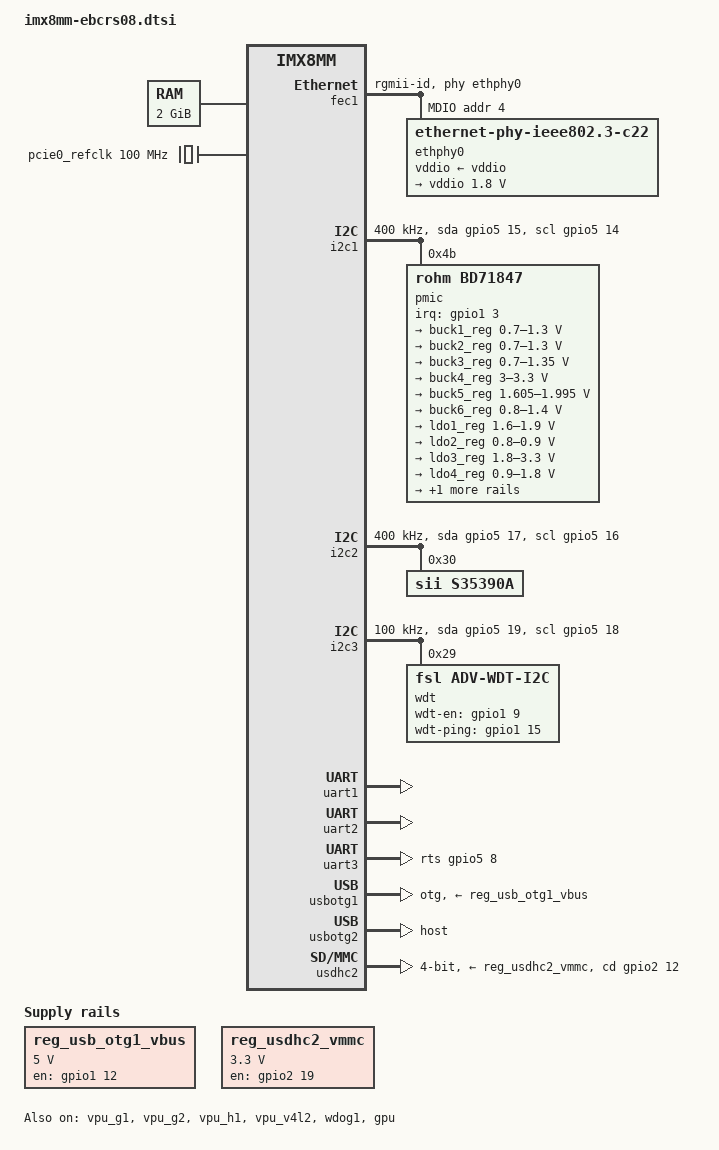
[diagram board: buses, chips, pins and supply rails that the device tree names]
// SPDX-License-Identifier: (GPL-2.0+ OR MIT)
/*
 * Copyright 2020 NXP
 */

/dts-v1/;

#include <dt-bindings/usb/pd.h>
#include "imx8mm.dtsi"

/ {
	chosen {
		stdout-path = &uart2;
	};

	memory@40000000 {
		device_type = "memory";
		reg = <0x0 0x40000000 0 0x80000000>;
	};

	pcie0_refclk: pcie0-refclk {
		compatible = "fixed-clock";
		#clock-cells = <0>;
		clock-frequency = <100000000>;
	};

	reg_usb_otg1_vbus: regulator-vbus {
		compatible = "regulator-fixed";
		regulator-name = "usb_otg1_vbus";
		regulator-min-microvolt = <5000000>;
		regulator-max-microvolt = <5000000>;
		gpio = <&gpio1 12 GPIO_ACTIVE_HIGH>;
		enable-active-high;
	};

	reg_usdhc2_vmmc: regulator-usdhc2 {
		compatible = "regulator-fixed";
		pinctrl-names = "default";
		pinctrl-0 = <&pinctrl_reg_usdhc2_vmmc>;
		regulator-name = "VSD_3V3";
		regulator-min-microvolt = <3300000>;
		regulator-max-microvolt = <3300000>;
		gpio = <&gpio2 19 GPIO_ACTIVE_HIGH>;
		off-on-delay-us = <20000>;
		enable-active-high;
	};
};

&A53_0 {
	cpu-supply = <&buck2_reg>;
};

&A53_1 {
	cpu-supply = <&buck2_reg>;
};

&A53_2 {
	cpu-supply = <&buck2_reg>;
};

&A53_3 {
	cpu-supply = <&buck2_reg>;
};

&csi1_bridge {
	fsl,mipi-mode;
	status = "disabled";
};

&ecspi2 {
        cs-gpios = <&gpio5 13 0>, <&gpio3 21 0>;
        pinctrl-names = "default";
        pinctrl-0 = <&pinctrl_ecspi2>;
        status = "disabled";
};

&ecspi3 {
        cs-gpios = <&gpio5 25 0>, <&gpio3 22 0>;
        pinctrl-names = "default";
        pinctrl-0 = <&pinctrl_ecspi3>;
        status = "disabled";
};

&fec1 {
	pinctrl-names = "default";
	pinctrl-0 = <&pinctrl_fec1>;
	phy-mode = "rgmii-id";
	phy-handle = <&ethphy0>;
	fsl,magic-packet;
	status = "okay";

	mdio {
		#address-cells = <1>;
		#size-cells = <0>;

		ethphy0: ethernet-phy@0 {
			compatible = "ethernet-phy-ieee802.3-c22";
			reg = <4>;
			qca,disable-smarteee;
			vddio-supply = <&vddio>;

			vddio: vddio-regulator {
				regulator-min-microvolt = <1800000>;
				regulator-max-microvolt = <1800000>;
			};
		};
	};
};

&i2c1 {
	clock-frequency = <400000>;
	pinctrl-names = "default";
	pinctrl-0 = <&pinctrl_i2c1>;
	pinctrl-1 = <&pinctrl_i2c1_gpio>;
	scl-gpios = <&gpio5 14 GPIO_ACTIVE_HIGH>;
	sda-gpios = <&gpio5 15 GPIO_ACTIVE_HIGH>;
	status = "okay";

	pmic@4b {
		compatible = "rohm,bd71847";
		reg = <0x4b>;
		pinctrl-0 = <&pinctrl_pmic>;
		interrupt-parent = <&gpio1>;
		interrupts = <3 GPIO_ACTIVE_LOW>;
		rohm,reset-snvs-powered;

		regulators {
			buck1_reg: BUCK1 {
				regulator-name = "BUCK1";
				regulator-min-microvolt = <700000>;
				regulator-max-microvolt = <1300000>;
				regulator-boot-on;
				regulator-always-on;
				regulator-ramp-delay = <1250>;
			};

			buck2_reg: BUCK2 {
				regulator-name = "BUCK2";
				regulator-min-microvolt = <700000>;
				regulator-max-microvolt = <1300000>;
				regulator-boot-on;
				regulator-always-on;
				regulator-ramp-delay = <1250>;
				rohm,dvs-run-voltage = <1000000>;
				rohm,dvs-idle-voltage = <900000>;
			};

			buck3_reg: BUCK3 {
				// BUCK5 in datasheet
				regulator-name = "BUCK3";
				regulator-min-microvolt = <700000>;
				regulator-max-microvolt = <1350000>;
				regulator-boot-on;
				regulator-always-on;
			};

			buck4_reg: BUCK4 {
				// BUCK6 in datasheet
				regulator-name = "BUCK4";
				regulator-min-microvolt = <3000000>;
				regulator-max-microvolt = <3300000>;
				regulator-boot-on;
				regulator-always-on;
			};

			buck5_reg: BUCK5 {
				// BUCK7 in datasheet
				regulator-name = "BUCK5";
				regulator-min-microvolt = <1605000>;
				regulator-max-microvolt = <1995000>;
				regulator-boot-on;
				regulator-always-on;
			};

			buck6_reg: BUCK6 {
				// BUCK8 in datasheet
				regulator-name = "BUCK6";
				regulator-min-microvolt = <800000>;
				regulator-max-microvolt = <1400000>;
				regulator-boot-on;
				regulator-always-on;
			};

			ldo1_reg: LDO1 {
				regulator-name = "LDO1";
				regulator-min-microvolt = <1600000>;
				regulator-max-microvolt = <1900000>;
				regulator-boot-on;
				regulator-always-on;
			};

			ldo2_reg: LDO2 {
				regulator-name = "LDO2";
				regulator-min-microvolt = <800000>;
				regulator-max-microvolt = <900000>;
				regulator-boot-on;
				regulator-always-on;
			};

			ldo3_reg: LDO3 {
				regulator-name = "LDO3";
				regulator-min-microvolt = <1800000>;
				regulator-max-microvolt = <3300000>;
				regulator-boot-on;
				regulator-always-on;
			};

			ldo4_reg: LDO4 {
				regulator-name = "LDO4";
				regulator-min-microvolt = <900000>;
				regulator-max-microvolt = <1800000>;
				regulator-boot-on;
				regulator-always-on;
			};

			ldo6_reg: LDO6 {
				regulator-name = "LDO6";
				regulator-min-microvolt = <900000>;
				regulator-max-microvolt = <1800000>;
				regulator-boot-on;
				regulator-always-on;
			};
		};
	};
};

&i2c2 {
	clock-frequency = <400000>;
	pinctrl-names = "default", "gpio";
	pinctrl-0 = <&pinctrl_i2c2>;
	pinctrl-1 = <&pinctrl_i2c2_gpio>;
	scl-gpios = <&gpio5 16 GPIO_ACTIVE_HIGH>;
	sda-gpios = <&gpio5 17 GPIO_ACTIVE_HIGH>;
	status = "okay";

	s35390a: s35390a@30 {
		 compatible = "sii,s35390a";
		 reg = <0x30>;
		status = "okay";
	};

};

&i2c3 {
	clock-frequency = <100000>;
	pinctrl-names = "default", "gpio";
	pinctrl-0 = <&pinctrl_i2c3>;
	pinctrl-1 = <&pinctrl_i2c3_gpio>;
	scl-gpios = <&gpio5 18 GPIO_ACTIVE_HIGH>;
	sda-gpios = <&gpio5 19 GPIO_ACTIVE_HIGH>;
	status = "okay";

	wdt@29 {
		compatible = "fsl,adv-wdt-i2c";
		pinctrl-names = "default";
		pinctrl-0 = <&pinctrl_wdt_en_1 &pinctrl_wdt_ping_1>;
		status = "okay";
		wdt-en = <&gpio1 9 0>;
		wdt-ping = <&gpio1 15 0>;
		reg = <0x29>;
	};
};

&lcdif {
       status = "disabled";
};

&mipi_csi_1 {
	#address-cells = <1>;
	#size-cells = <0>;
	status = "disabled";
};

&mipi_dsi {
       status = "disabled";

};

&pcie0{
	pinctrl-names = "default";
	pinctrl-0 = <&pinctrl_pcie0>;
	disable-gpio = <&gpio3 19 GPIO_ACTIVE_LOW>;
	reset-gpio = <&gpio1 13 GPIO_ACTIVE_LOW>;
	clocks = <&clk IMX8MM_CLK_PCIE1_ROOT>,
		 <&clk IMX8MM_CLK_PCIE1_AUX>,
		 <&clk IMX8MM_CLK_PCIE1_PHY>,
		 <&pcie0_refclk>;
	clock-names = "pcie", "pcie_aux", "pcie_phy", "pcie_bus";
	assigned-clocks = <&clk IMX8MM_CLK_PCIE1_AUX>,
			  <&clk IMX8MM_CLK_PCIE1_PHY>,
			  <&clk IMX8MM_CLK_PCIE1_CTRL>;
	assigned-clock-rates = <10000000>, <100000000>, <250000000>;
	assigned-clock-parents = <&clk IMX8MM_SYS_PLL2_50M>,
				 <&clk IMX8MM_SYS_PLL2_100M>,
				 <&clk IMX8MM_SYS_PLL2_250M>;
	ext_osc = <1>;
	status = "disabled";
};

&sai1 {
	pinctrl-names = "default", "dsd";
	pinctrl-0 = <&pinctrl_sai1>;
	pinctrl-1 = <&pinctrl_sai1_dsd>;
	assigned-clocks = <&clk IMX8MM_CLK_SAI1>;
	assigned-clock-parents = <&clk IMX8MM_AUDIO_PLL1_OUT>;
	assigned-clock-rates = <49152000>;
	clocks = <&clk IMX8MM_CLK_SAI1_IPG>, <&clk IMX8MM_CLK_DUMMY>,
		<&clk IMX8MM_CLK_SAI1_ROOT>, <&clk IMX8MM_CLK_DUMMY>,
		<&clk IMX8MM_CLK_DUMMY>, <&clk IMX8MM_AUDIO_PLL1_OUT>,
		<&clk IMX8MM_AUDIO_PLL2_OUT>;
	clock-names = "bus", "mclk0", "mclk1", "mclk2", "mclk3", "pll8k", "pll11k";
	fsl,sai-multi-lane;
	fsl,dataline,dsd = <0 0xff 0xff 2 0xff 0x11>;
	dmas = <&sdma2 0 25 0>, <&sdma2 1 25 0>;
	status = "disabled";
};

&sai3 {
	pinctrl-names = "default";
	pinctrl-0 = <&pinctrl_sai3>;
	assigned-clocks = <&clk IMX8MM_CLK_SAI3>;
	assigned-clock-parents = <&clk IMX8MM_AUDIO_PLL1_OUT>;
	assigned-clock-rates = <24576000>;
	status = "disabled";
};

&sai6 {
	fsl,sai-monitor-spdif;
	fsl,sai-asynchronous;
	status = "disabled";
};

&snvs_rtc {
	status = "disabled";
};

&snvs_pwrkey {
	status = "disabled";
};

&spdif1 {
	pinctrl-names = "default";
	pinctrl-0 = <&pinctrl_spdif1>;
	assigned-clocks = <&clk IMX8MM_CLK_SPDIF1>;
	assigned-clock-parents = <&clk IMX8MM_AUDIO_PLL1_OUT>;
	assigned-clock-rates = <24576000>;
	clocks = <&clk IMX8MM_CLK_AUDIO_AHB>, <&clk IMX8MM_CLK_24M>,
		<&clk IMX8MM_CLK_SPDIF1>, <&clk IMX8MM_CLK_DUMMY>,
		<&clk IMX8MM_CLK_DUMMY>, <&clk IMX8MM_CLK_DUMMY>,
		<&clk IMX8MM_CLK_AUDIO_AHB>, <&clk IMX8MM_CLK_DUMMY>,
		<&clk IMX8MM_CLK_DUMMY>, <&clk IMX8MM_CLK_DUMMY>,
		<&clk IMX8MM_AUDIO_PLL1_OUT>, <&clk IMX8MM_AUDIO_PLL2_OUT>;
	clock-names = "core", "rxtx0", "rxtx1", "rxtx2", "rxtx3",
		"rxtx4", "rxtx5", "rxtx6", "rxtx7", "spba", "pll8k", "pll11k";
	status = "disabled";
};

&uart1 { /* BT */
	pinctrl-names = "default";
	pinctrl-0 = <&pinctrl_uart1>;
	fsl,uart-has-rtscts;
	linux,rs485-enabled-at-boot-time;
	status = "okay";
};

&uart2 { /* console */
	pinctrl-names = "default";
	pinctrl-0 = <&pinctrl_uart2>;
	status = "okay";
};

&uart3 {
	pinctrl-names = "default";
	pinctrl-0 = <&pinctrl_uart3>;
	/*fsl,uart-has-rtscts;*/
	rts-gpios = <&gpio5 8 GPIO_ACTIVE_HIGH>;
	linux,rs485-enabled-at-boot-time;
	status = "okay";
};

&usbotg1 {
	pinctrl-names = "default";
	pinctrl-0 = <&pinctrl_usbotg>;
	dr_mode = "otg";
	extcon = <0>;
	vbus-supply = <&reg_usb_otg1_vbus>;
	disable-over-current;
	samsung,picophy-pre-emp-curr-control = <3>;
	samsung,picophy-dc-vol-level-adjust = <7>;
	status = "okay";
};

&usbotg2 {
	dr_mode = "host";
	// power-en-gpio = <&gpio1 0 GPIO_ACTIVE_HIGH>;
	// power-reset-gpio = <&gpio1 1 GPIO_ACTIVE_HIGH>;

	status = "okay";
};

&usdhc2 {
	assigned-clocks = <&clk IMX8MM_CLK_USDHC2>;
	assigned-clock-rates = <200000000>;
	pinctrl-names = "default", "state_100mhz", "state_200mhz";
	pinctrl-0 = <&pinctrl_usdhc2>, <&pinctrl_usdhc2_gpio>;
	pinctrl-1 = <&pinctrl_usdhc2_100mhz>, <&pinctrl_usdhc2_gpio>;
	pinctrl-2 = <&pinctrl_usdhc2_200mhz>, <&pinctrl_usdhc2_gpio>;
	cd-gpios = <&gpio2 12 GPIO_ACTIVE_HIGH>;
	/*wp-gpios = <&gpio2 20 GPIO_ACTIVE_HIGH>;*/
	no-1-8-v;
	max-frequency = <50000000>;
	bus-width = <4>;
	vmmc-supply = <&reg_usdhc2_vmmc>;
	status = "okay";
};

&vpu_g1 {
	status = "okay";
};

&vpu_g2 {
	status = "okay";
};

&vpu_h1 {
	status = "okay";
};

&vpu_v4l2 {
	status = "okay";
};

&wdog1 {
	pinctrl-names = "default";
	pinctrl-0 = <&pinctrl_wdog>;
	fsl,ext-reset-output;
	status = "okay";
};

&gpu {
	status = "okay";
};

&pwm2 {
        status = "disabled";
        pinctrl-names = "default";
        pinctrl-0 = <&pinctrl_pwm2>;
};

&pwm4 {
        status = "disabled";
        pinctrl-names = "default";
        pinctrl-0 = <&pinctrl_pwm4>;
};

&iomuxc {
	pinctrl_csi_pwn: csi_pwn_grp {
		fsl,pins = <
			MX8MM_IOMUXC_GPIO1_IO07_GPIO1_IO7		0x19
		>;
	};

	pinctrl_ecspi2: ecspi2grp {
		fsl,pins = <
			MX8MM_IOMUXC_ECSPI2_SCLK_ECSPI2_SCLK		0x82
			MX8MM_IOMUXC_ECSPI2_MOSI_ECSPI2_MOSI		0x82
			MX8MM_IOMUXC_ECSPI2_MISO_ECSPI2_MISO		0x82
			MX8MM_IOMUXC_ECSPI2_SS0_GPIO5_IO13		0x19	/* ECSPI2_SS0 */
			MX8MM_IOMUXC_SAI5_RXD0_GPIO3_IO21		0x19	/* ECSPI2_SS1 */		
		>;
	};

	pinctrl_ecspi2_cs: ecspi2cs {
		fsl,pins = <
			MX8MM_IOMUXC_ECSPI2_SS0_GPIO5_IO13		0x40000
		>;
	};

	pinctrl_ecspi3: ecspi3grp {
                fsl,pins = <
			MX8MM_IOMUXC_UART1_RXD_ECSPI3_SCLK		0x82	/* ECSPI3_SCLK */
			MX8MM_IOMUXC_UART1_TXD_ECSPI3_MOSI		0x82	/* ECSPI3_MOSI */
			MX8MM_IOMUXC_UART2_RXD_ECSPI3_MISO		0x82	/* ECSPI3_MISO */
			MX8MM_IOMUXC_UART2_TXD_GPIO5_IO25		0x19	/* ECSPI3_SS0 */
			MX8MM_IOMUXC_SAI5_RXD1_GPIO3_IO22		0x19	/* ECSPI3_SS1 */
                >;
    };

	pinctrl_fec1: fec1grp {
		fsl,pins = <
			MX8MM_IOMUXC_ENET_MDC_ENET1_MDC			0x3
			MX8MM_IOMUXC_ENET_MDIO_ENET1_MDIO		0x3
			MX8MM_IOMUXC_ENET_TD3_ENET1_RGMII_TD3		0x1f
			MX8MM_IOMUXC_ENET_TD2_ENET1_RGMII_TD2		0x1f
			MX8MM_IOMUXC_ENET_TD1_ENET1_RGMII_TD1		0x1f
			MX8MM_IOMUXC_ENET_TD0_ENET1_RGMII_TD0		0x1f
			MX8MM_IOMUXC_ENET_RD3_ENET1_RGMII_RD3		0x91
			MX8MM_IOMUXC_ENET_RD2_ENET1_RGMII_RD2		0x91
			MX8MM_IOMUXC_ENET_RD1_ENET1_RGMII_RD1		0x91
			MX8MM_IOMUXC_ENET_RD0_ENET1_RGMII_RD0		0x91
			MX8MM_IOMUXC_ENET_TXC_ENET1_RGMII_TXC		0x1f
			MX8MM_IOMUXC_ENET_RXC_ENET1_RGMII_RXC		0x91
			MX8MM_IOMUXC_ENET_RX_CTL_ENET1_RGMII_RX_CTL	0x91
			MX8MM_IOMUXC_ENET_TX_CTL_ENET1_RGMII_TX_CTL	0x1f
			MX8MM_IOMUXC_GPIO1_IO06_GPIO1_IO6		0x19	/* RGMII0_INT# */
		>;
	};

	pinctrl_gpio_led: gpioledgrp {
		fsl,pins = <
			MX8MM_IOMUXC_NAND_READY_B_GPIO3_IO16	0x19
		>;
	};

	pinctrl_gpio_wlf: gpiowlfgrp {
		fsl,pins = <
			MX8MM_IOMUXC_I2C4_SDA_GPIO5_IO21	0xd6
		>;
	};

	pinctrl_i2c1: i2c1grp {
		fsl,pins = <
			MX8MM_IOMUXC_I2C1_SCL_I2C1_SCL			0x400001c3
			MX8MM_IOMUXC_I2C1_SDA_I2C1_SDA			0x400001c3
		>;
	};

	pinctrl_i2c1_gpio: i2c1_gpio_grp {
		fsl,pins = <
			MX8MM_IOMUXC_I2C1_SCL_GPIO5_IO14		0x19
			MX8MM_IOMUXC_I2C1_SDA_GPIO5_IO15		0x19
		>;
	};

	pinctrl_i2c2: i2c2grp {
		fsl,pins = <
			MX8MM_IOMUXC_I2C2_SCL_I2C2_SCL			0x400001c3
			MX8MM_IOMUXC_I2C2_SDA_I2C2_SDA			0x400001c3
		>;
	};

	pinctrl_i2c2_synaptics_dsx_io: synaptics_dsx_iogrp {
		fsl,pins = <
			MX8MM_IOMUXC_GPIO1_IO09_GPIO1_IO9               0x19    /* Touch int */
		>;
	};

	pinctrl_i2c2_gpio: i2c2_gpio_grp {
		fsl,pins = <
			MX8MM_IOMUXC_I2C2_SCL_GPIO5_IO16		0x19
			MX8MM_IOMUXC_I2C2_SDA_GPIO5_IO17		0x19
		>;
	};

	pinctrl_i2c3: i2c3grp {
		fsl,pins = <
			MX8MM_IOMUXC_I2C3_SCL_I2C3_SCL			0x400001c3
			MX8MM_IOMUXC_I2C3_SDA_I2C3_SDA			0x400001c3
		>;
	};

	pinctrl_i2c3_gpio: i2c3_gpio_grp {
		fsl,pins = <
			MX8MM_IOMUXC_I2C3_SCL_GPIO5_IO18		0x19
			MX8MM_IOMUXC_I2C3_SDA_GPIO5_IO19		0x19
		>;
	};

	pinctrl_mipi_dsi_en: mipi_dsi_en {
		fsl,pins = <
			MX8MM_IOMUXC_GPIO1_IO08_GPIO1_IO8		0x16
		>;
	};

	pinctrl_pcie0: pcie0grp {
		fsl,pins = <
			MX8MM_IOMUXC_SAI5_RXFS_GPIO3_IO19		0x41	/* PCIE_WAKE */
			MX8MM_IOMUXC_GPIO1_IO13_GPIO1_IO13		0x41	/* PCIE_RST */
		>;
	};

	pinctrl_pmic: pmicirqgrp {
		fsl,pins = <
			MX8MM_IOMUXC_GPIO1_IO03_GPIO1_IO3		0x141
		>;
	};

	pinctrl_reg_usdhc2_vmmc: regusdhc2vmmcgrp {
		fsl,pins = <
			MX8MM_IOMUXC_SD2_RESET_B_GPIO2_IO19	0x41
		>;
	};

	pinctrl_sai1: sai1grp {
		fsl,pins = <
			MX8MM_IOMUXC_SAI1_MCLK_SAI1_MCLK	0xd6
			MX8MM_IOMUXC_SAI1_TXFS_SAI1_TX_SYNC	0xd6
			MX8MM_IOMUXC_SAI1_RXD7_SAI1_TX_SYNC	0xd6
			MX8MM_IOMUXC_SAI1_TXC_SAI1_TX_BCLK	0xd6
			MX8MM_IOMUXC_SAI1_TXD0_SAI1_TX_DATA0	0xd6
			MX8MM_IOMUXC_SAI1_TXD1_SAI1_TX_DATA1	0xd6
			MX8MM_IOMUXC_SAI1_TXD2_SAI1_TX_DATA2	0xd6
			MX8MM_IOMUXC_SAI1_TXD3_SAI1_TX_DATA3	0xd6
			MX8MM_IOMUXC_SAI1_TXD4_SAI1_TX_DATA4	0xd6
			MX8MM_IOMUXC_SAI1_TXD5_SAI1_TX_DATA5	0xd6
			MX8MM_IOMUXC_SAI1_TXD6_SAI1_TX_DATA6	0xd6
			MX8MM_IOMUXC_SAI1_TXD7_SAI1_TX_DATA7	0xd6
		>;
	};

	pinctrl_sai1_dsd: sai1grp_dsd {
		fsl,pins = <
			MX8MM_IOMUXC_SAI1_MCLK_SAI1_MCLK	0xd6
			MX8MM_IOMUXC_SAI1_TXFS_SAI1_TX_SYNC	0xd6
			MX8MM_IOMUXC_SAI1_RXD7_SAI1_TX_DATA4	0xd6
			MX8MM_IOMUXC_SAI1_TXC_SAI1_TX_BCLK	0xd6
			MX8MM_IOMUXC_SAI1_TXD0_SAI1_TX_DATA0	0xd6
			MX8MM_IOMUXC_SAI1_TXD1_SAI1_TX_DATA1	0xd6
			MX8MM_IOMUXC_SAI1_TXD2_SAI1_TX_DATA2	0xd6
			MX8MM_IOMUXC_SAI1_TXD3_SAI1_TX_DATA3	0xd6
			MX8MM_IOMUXC_SAI1_TXD4_SAI1_TX_DATA4	0xd6
			MX8MM_IOMUXC_SAI1_TXD5_SAI1_TX_DATA5	0xd6
			MX8MM_IOMUXC_SAI1_TXD6_SAI1_TX_DATA6	0xd6
			MX8MM_IOMUXC_SAI1_TXD7_SAI1_TX_DATA7	0xd6
		>;
	};

	pinctrl_sai3: sai3grp {
		fsl,pins = <
			MX8MM_IOMUXC_SAI3_TXFS_SAI3_TX_SYNC     0xd6
			MX8MM_IOMUXC_SAI3_TXC_SAI3_TX_BCLK      0xd6
			MX8MM_IOMUXC_SAI3_MCLK_SAI3_MCLK        0xd6
			MX8MM_IOMUXC_SAI3_TXD_SAI3_TX_DATA0     0xd6
		>;
	};

	pinctrl_spdif1: spdif1grp {
		fsl,pins = <
			MX8MM_IOMUXC_SPDIF_TX_SPDIF1_OUT	0xd6
			MX8MM_IOMUXC_SPDIF_RX_SPDIF1_IN		0xd6
		>;
	};

	pinctrl_typec1: typec1grp {
		fsl,pins = <
			MX8MM_IOMUXC_SD1_STROBE_GPIO2_IO11	0x159
		>;
	};

	pinctrl_uart1: uart1grp {
		fsl,pins = <
			MX8MM_IOMUXC_SAI2_RXC_UART1_DCE_RX     0x140
			MX8MM_IOMUXC_SAI2_RXFS_UART1_DCE_TX     0x140
			MX8MM_IOMUXC_SAI2_TXFS_UART1_DCE_CTS_B  0x140
			MX8MM_IOMUXC_SAI2_RXD0_UART1_DCE_RTS_B  0x140
		>;
	};

	pinctrl_uart2: uart2grp {
		fsl,pins = <
			MX8MM_IOMUXC_SAI3_TXC_UART2_DCE_TX	0x140
			MX8MM_IOMUXC_SAI3_TXFS_UART2_DCE_RX	0x140
		>;
	};

	pinctrl_uart3: uart3grp {
		fsl,pins = <
			MX8MM_IOMUXC_UART3_RXD_UART3_DCE_RX           0x140
			MX8MM_IOMUXC_UART3_TXD_UART3_DCE_TX           0x140
			MX8MM_IOMUXC_ECSPI1_SS0_UART3_DCE_RTS_B         0x146
			/*MX8MM_IOMUXC_ECSPI1_MISO_UART3_DCE_CTS_B        0x140*/
			MX8MM_IOMUXC_ECSPI1_MISO_GPIO5_IO8			0x146
		>;
	};
/*
		pinctrl_uart4: uart4grp {
		fsl,pins = <
			MX8MM_IOMUXC_UART4_RXD_UART4_DCE_RX	0x140
			MX8MM_IOMUXC_UART4_TXD_UART4_DCE_TX	0x140
		>;
	};
*/
	pinctrl_usdhc1_gpio: usdhc1grpgpio {
		fsl,pins = <
			MX8MM_IOMUXC_SD1_RESET_B_GPIO2_IO10	0x41
		>;
	};

	pinctrl_usdhc1: usdhc1grp {
		fsl,pins = <
			MX8MM_IOMUXC_SD1_CLK_USDHC1_CLK		0x190
			MX8MM_IOMUXC_SD1_CMD_USDHC1_CMD		0x1d0
			MX8MM_IOMUXC_SD1_DATA0_USDHC1_DATA0	0x1d0
			MX8MM_IOMUXC_SD1_DATA1_USDHC1_DATA1	0x1d0
			MX8MM_IOMUXC_SD1_DATA2_USDHC1_DATA2	0x1d0
			MX8MM_IOMUXC_SD1_DATA3_USDHC1_DATA3	0x1d0
		>;
	};

	pinctrl_usdhc1_gpio: usdhc1grpgpio {
		fsl,pins = <
			MX8MM_IOMUXC_SD1_RESET_B_GPIO2_IO10	0x41	/* WL_REG_ON */
		>;
	};
	
	pinctrl_usdhc1_100mhz: usdhc1grp100mhz {
		fsl,pins = <
			MX8MM_IOMUXC_SD1_CLK_USDHC1_CLK		0x194
			MX8MM_IOMUXC_SD1_CMD_USDHC1_CMD		0x1d4
			MX8MM_IOMUXC_SD1_DATA0_USDHC1_DATA0	0x1d4
			MX8MM_IOMUXC_SD1_DATA1_USDHC1_DATA1	0x1d4
			MX8MM_IOMUXC_SD1_DATA2_USDHC1_DATA2	0x1d4
			MX8MM_IOMUXC_SD1_DATA3_USDHC1_DATA3	0x1d4
		>;
	};

	pinctrl_usdhc1_200mhz: usdhc1grp200mhz {
		fsl,pins = <
			MX8MM_IOMUXC_SD1_CLK_USDHC1_CLK		0x196
			MX8MM_IOMUXC_SD1_CMD_USDHC1_CMD		0x1d6
			MX8MM_IOMUXC_SD1_DATA0_USDHC1_DATA0	0x1d6
			MX8MM_IOMUXC_SD1_DATA1_USDHC1_DATA1	0x1d6
			MX8MM_IOMUXC_SD1_DATA2_USDHC1_DATA2	0x1d6
			MX8MM_IOMUXC_SD1_DATA3_USDHC1_DATA3	0x1d6
		>;
	};

	pinctrl_usdhc2_gpio: usdhc2grpgpiogrp {
		fsl,pins = <
			MX8MM_IOMUXC_SD2_CD_B_GPIO2_IO12	0x159	/* SD2_CD */
			MX8MM_IOMUXC_SD2_WP_GPIO2_IO20		0x159	/* SD2_WP */
		>;
	};

	pinctrl_usdhc2: usdhc2grp {
		fsl,pins = <
			MX8MM_IOMUXC_SD2_CLK_USDHC2_CLK		0x190
			MX8MM_IOMUXC_SD2_CMD_USDHC2_CMD		0x1d0
			MX8MM_IOMUXC_SD2_DATA0_USDHC2_DATA0	0x1d0
			MX8MM_IOMUXC_SD2_DATA1_USDHC2_DATA1	0x1d0
			MX8MM_IOMUXC_SD2_DATA2_USDHC2_DATA2	0x1d0
			MX8MM_IOMUXC_SD2_DATA3_USDHC2_DATA3	0x1d0
			MX8MM_IOMUXC_GPIO1_IO04_USDHC2_VSELECT	0x1d0
		>;
	};

	pinctrl_usdhc2_100mhz: usdhc2-100mhzgrp {
		fsl,pins = <
			MX8MM_IOMUXC_SD2_CLK_USDHC2_CLK		0x194
			MX8MM_IOMUXC_SD2_CMD_USDHC2_CMD		0x1d4
			MX8MM_IOMUXC_SD2_DATA0_USDHC2_DATA0	0x1d4
			MX8MM_IOMUXC_SD2_DATA1_USDHC2_DATA1	0x1d4
			MX8MM_IOMUXC_SD2_DATA2_USDHC2_DATA2	0x1d4
			MX8MM_IOMUXC_SD2_DATA3_USDHC2_DATA3	0x1d4
			MX8MM_IOMUXC_GPIO1_IO04_USDHC2_VSELECT	0x1d0
		>;
	};

	pinctrl_usdhc2_200mhz: usdhc2-200mhzgrp {
		fsl,pins = <
			MX8MM_IOMUXC_SD2_CLK_USDHC2_CLK		0x196
			MX8MM_IOMUXC_SD2_CMD_USDHC2_CMD		0x1d6
			MX8MM_IOMUXC_SD2_DATA0_USDHC2_DATA0	0x1d6
			MX8MM_IOMUXC_SD2_DATA1_USDHC2_DATA1	0x1d6
			MX8MM_IOMUXC_SD2_DATA2_USDHC2_DATA2	0x1d6
			MX8MM_IOMUXC_SD2_DATA3_USDHC2_DATA3	0x1d6
			MX8MM_IOMUXC_GPIO1_IO04_USDHC2_VSELECT	0x1d0
		>;
	};

	pinctrl_wdog: wdoggrp {
		fsl,pins = <
			MX8MM_IOMUXC_GPIO1_IO02_WDOG1_WDOG_B	0x166
		>;
	};

    pinctrl_usbotg: usbotggrp {
                fsl,pins = <
			MX8MM_IOMUXC_GPIO1_IO12_GPIO1_IO12		0x19	/* USB1_OTG_EN */
                >;
    };
    pinctrl_wdt_en_1: wdt_engrp-1 {
                fsl,pins = <
                        MX8MM_IOMUXC_GPIO1_IO09_GPIO1_IO9		0x19    /* WDT_EN */
                >;
    };
    pinctrl_wdt_ping_1: wdt_pinggrp-1 {
                fsl,pins = <
                        MX8MM_IOMUXC_GPIO1_IO15_GPIO1_IO15		0x19    /* WDOG_TRIG */
                        >;
    };

	pinctrl_pwm2: pwm2grp {
                fsl,pins = <
                        MX8MM_IOMUXC_SPDIF_RX_PWM2_OUT         0x06	/* LCD1_BKLT_PWM */
                >;
    };

	pinctrl_pwm4: pwm4grp {
                fsl,pins = <
                        MX8MM_IOMUXC_SAI3_MCLK_PWM4_OUT         0x06	/* LCD0_BKLT_PWM */
                >;
    };
};
